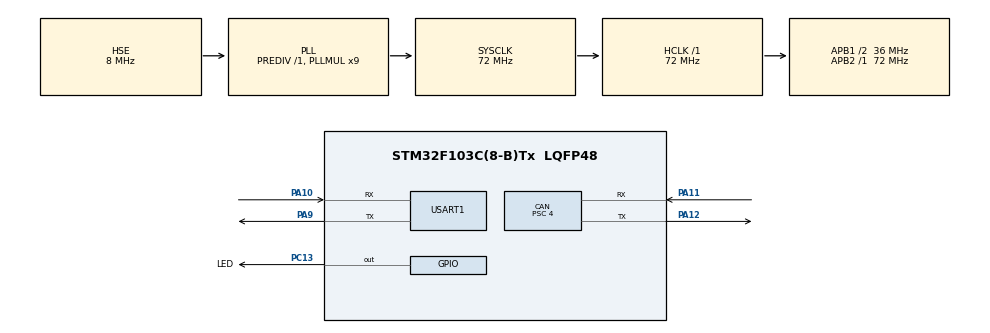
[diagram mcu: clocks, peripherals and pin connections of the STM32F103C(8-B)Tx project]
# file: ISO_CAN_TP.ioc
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CAN.BS1=CAN_BS1_15TQ
CAN.BS2=CAN_BS2_2TQ
CAN.CalculateBaudRate=500000
CAN.CalculateTimeBit=2000
CAN.CalculateTimeQuantum=111.11111111111111
CAN.Prescaler=4
CAN.TXFP=ENABLE
FREERTOS.Tasks01=defaultTask,24,512,StartDefaultTask,Default,NULL,Dynamic,NULL,NULL;Can_Send,24,512,Can_SendHandler,Default,NULL,Dynamic,NULL,NULL
FREERTOS.configCHECK_FOR_STACK_OVERFLOW=1
FREERTOS.configTOTAL_HEAP_SIZE=8192
Mcu.Family=STM32F1
Mcu.Name=STM32F103C(8-B)Tx
Mcu.Package=LQFP48
NVIC.CAN1_RX1_IRQn=true\:5\:0\:false\:false\:true\:true\:true\:true\:true
NVIC.CAN1_SCE_IRQn=true\:5\:0\:false\:false\:true\:true\:true\:true\:true
NVIC.PriorityGroup=NVIC_PRIORITYGROUP_4
NVIC.USART1_IRQn=true\:5\:0\:false\:false\:true\:true\:true\:true\:true
NVIC.USB_LP_CAN1_RX0_IRQn=true\:5\:0\:false\:false\:true\:true\:true\:true\:true
PA10.Mode=Asynchronous
PA10.Signal=USART1_RX
PA11.Mode=CAN_Activate
PA11.Signal=CAN_RX
PA12.Mode=CAN_Activate
PA12.Signal=CAN_TX
PA13.Mode=Serial_Wire
PA13.Signal=SYS_JTMS-SWDIO
PA14.Mode=Serial_Wire
PA14.Signal=SYS_JTCK-SWCLK
PA9.Mode=Asynchronous
PA9.Signal=USART1_TX
PC13-TAMPER-RTC.GPIO_Label=LED
PC13-TAMPER-RTC.PinState=GPIO_PIN_SET
PC13-TAMPER-RTC.Signal=GPIO_Output
PD0-OSC_IN.Mode=HSE-External-Oscillator
PD0-OSC_IN.Signal=RCC_OSC_IN
PD1-OSC_OUT.Mode=HSE-External-Oscillator
PD1-OSC_OUT.Signal=RCC_OSC_OUT
ProjectManager.HeapSize=0x200
ProjectManager.StackSize=0x400
ProjectManager.TargetToolchain=STM32CubeIDE
RCC.AHBFreq_Value=72000000
RCC.APB1CLKDivider=RCC_HCLK_DIV2
RCC.APB1Freq_Value=36000000
RCC.APB1TimFreq_Value=72000000
RCC.APB2Freq_Value=72000000
RCC.APB2TimFreq_Value=72000000
RCC.HCLKFreq_Value=72000000
RCC.PLLMUL=RCC_PLL_MUL9
RCC.PLLSourceVirtual=RCC_PLLSOURCE_HSE
RCC.SYSCLKFreq_VALUE=72000000
RCC.SYSCLKSource=RCC_SYSCLKSOURCE_PLLCLK
RCC.USBFreq_Value=72000000
TIM1.Prescaler=71
USART1.VirtualMode=VM_ASYNC
VP_FREERTOS_VS_CMSIS_V2.Mode=CMSIS_V2
VP_TIM1_VS_ClockSourceINT.Mode=Internal
board=custom

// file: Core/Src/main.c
/* USER CODE BEGIN Header */
/**
 ******************************************************************************
 * @file           : main.c
 * @brief          : Main program body
 ******************************************************************************
 * @attention
 *
 * Copyright (c) 2023 STMicroelectronics.
 * All rights reserved.
 *
 * This software is licensed under terms that can be found in the LICENSE file
 * in the root directory of this software component.
 * If no LICENSE file comes with this software, it is provided AS-IS.
 *
 ******************************************************************************
 */
/* USER CODE END Header */
#include "main.h"
#include "cmsis_os.h"

/* USER CODE BEGIN Includes */
#include "isotp.h"
#include "CANFrame/canframe.h"
#include "CANHandler/CANHandler.h"
#include "SyncPrintf/SyncPrintf.h"
/* USER CODE END Includes */

/* USER CODE BEGIN PD */
#define ISOTP_BUFSIZE 		500
#define CAN_DISTANCE_ID 	0x0001
#define CAN_LIGHT_ID		0x0002

/* USER CODE END PD */

CAN_HandleTypeDef hcan;

TIM_HandleTypeDef htim1;

UART_HandleTypeDef huart1;

/* Definitions for defaultTask */
osThreadId_t defaultTaskHandle;
const osThreadAttr_t defaultTask_attributes = {
  .name = "defaultTask",
  .stack_size = 512 * 4,
  .priority = (osPriority_t) osPriorityNormal,
};
/* Definitions for Can_Send */
osThreadId_t Can_SendHandle;
const osThreadAttr_t Can_Send_attributes = {
  .name = "Can_Send",
  .stack_size = 512 * 4,
  .priority = (osPriority_t) osPriorityNormal,
};
/* USER CODE BEGIN PV */
IsoTpLink send_link;
IsoTpLink recv_link;

/* Alloc send and receive buffer statically in RAM */
uint8_t send_isotpRecvBuf[ISOTP_BUFSIZE];
uint8_t send_isotpSendBuf[ISOTP_BUFSIZE];
uint8_t recv_isotpRecvBuf[ISOTP_BUFSIZE];
uint8_t recv_isotpSendBuf[ISOTP_BUFSIZE];
CAN_OS_HandlerStruct CANmain;
CANFrame_HandlerStruct CANFrame_Handler;
/* USER CODE END PV */

void SystemClock_Config(void);
static void MX_GPIO_Init(void);
static void MX_CAN_Init(void);
static void MX_USART1_UART_Init(void);
static void MX_TIM1_Init(void);
void StartDefaultTask(void *argument);
void Can_SendHandler(void *argument);

int main(void)
{

  /* MCU Configuration--------------------------------------------------------*/

  /* Reset of all peripherals, Initializes the Flash interface and the Systick. */
  HAL_Init();

  /* USER CODE BEGIN Init */
	/* Alloc IsoTpLink statically in RAM */

  /* USER CODE END Init */

  /* Configure the system clock */
  SystemClock_Config();

  /* USER CODE BEGIN SysInit */
//	isotp_init_link(&send_link, CANFRAME_MASTER_ID, send_isotpSendBuf,
//			sizeof(send_isotpSendBuf), send_isotpRecvBuf,
//			sizeof(send_isotpRecvBuf));
//	send_link.receive_arbitration_id = CANFRAME_DISTANCE_ID;

	isotp_init_link(&recv_link, CANFRAME_DISTANCE_ID, recv_isotpSendBuf,
			sizeof(recv_isotpSendBuf), recv_isotpRecvBuf,
			sizeof(recv_isotpRecvBuf));
	recv_link.receive_arbitration_id = CANFRAME_MASTER_ID;
  /* USER CODE END SysInit */

  /* Initialize all configured peripherals */
  MX_GPIO_Init();
  MX_CAN_Init();
  MX_USART1_UART_Init();
  MX_TIM1_Init();
  /* USER CODE BEGIN 2 */

	CAN_OS_Init(&CANmain, &hcan);
  /* USER CODE END 2 */

  /* Init scheduler */
  osKernelInitialize();

  /* USER CODE BEGIN RTOS_MUTEX */
	/* add mutexes, ... */
	SyncPrintf_Init();
  /* USER CODE END RTOS_MUTEX */

  /* Create the thread(s) */
  /* creation of defaultTask */
  defaultTaskHandle = osThreadNew(StartDefaultTask, NULL, &defaultTask_attributes);

  /* creation of Can_Send */
//  Can_SendHandle = osThreadNew(Can_SendHandler, NULL, &Can_Send_attributes);

  /* Start scheduler */
  osKernelStart();

  /* We should never get here as control is now taken by the scheduler */
  /* Infinite loop */
	while (1) {

	}
}

void SystemClock_Config(void)
{
  RCC_OscInitTypeDef RCC_OscInitStruct = {0};
  RCC_ClkInitTypeDef RCC_ClkInitStruct = {0};

  /** Initializes the RCC Oscillators according to the specified parameters
  * in the RCC_OscInitTypeDef structure.
  */
  RCC_OscInitStruct.OscillatorType = RCC_OSCILLATORTYPE_HSE;
  RCC_OscInitStruct.HSEState = RCC_HSE_ON;
  RCC_OscInitStruct.HSEPredivValue = RCC_HSE_PREDIV_DIV1;
  RCC_OscInitStruct.HSIState = RCC_HSI_ON;
  RCC_OscInitStruct.PLL.PLLState = RCC_PLL_ON;
  RCC_OscInitStruct.PLL.PLLSource = RCC_PLLSOURCE_HSE;
  RCC_OscInitStruct.PLL.PLLMUL = RCC_PLL_MUL9;
  if (HAL_RCC_OscConfig(&RCC_OscInitStruct) != HAL_OK)
  {
    Error_Handler();
  }

  /** Initializes the CPU, AHB and APB buses clocks
  */
  RCC_ClkInitStruct.ClockType = RCC_CLOCKTYPE_HCLK|RCC_CLOCKTYPE_SYSCLK
                              |RCC_CLOCKTYPE_PCLK1|RCC_CLOCKTYPE_PCLK2;
  RCC_ClkInitStruct.SYSCLKSource = RCC_SYSCLKSOURCE_PLLCLK;
  RCC_ClkInitStruct.AHBCLKDivider = RCC_SYSCLK_DIV1;
  RCC_ClkInitStruct.APB1CLKDivider = RCC_HCLK_DIV2;
  RCC_ClkInitStruct.APB2CLKDivider = RCC_HCLK_DIV1;

  if (HAL_RCC_ClockConfig(&RCC_ClkInitStruct, FLASH_LATENCY_2) != HAL_OK)
  {
    Error_Handler();
  }
}

static void MX_CAN_Init(void)
{

  hcan.Instance = CAN1;
  hcan.Init.Prescaler = 4;
  hcan.Init.Mode = CAN_MODE_NORMAL;
  hcan.Init.SyncJumpWidth = CAN_SJW_1TQ;
  hcan.Init.TimeSeg1 = CAN_BS1_15TQ;
  hcan.Init.TimeSeg2 = CAN_BS2_2TQ;
  hcan.Init.TimeTriggeredMode = DISABLE;
  hcan.Init.AutoBusOff = DISABLE;
  hcan.Init.AutoWakeUp = DISABLE;
  hcan.Init.AutoRetransmission = DISABLE;
  hcan.Init.ReceiveFifoLocked = DISABLE;
  hcan.Init.TransmitFifoPriority = ENABLE;
  if (HAL_CAN_Init(&hcan) != HAL_OK)
  {
    Error_Handler();
  }

}

static void MX_TIM1_Init(void)
{

  TIM_ClockConfigTypeDef sClockSourceConfig = {0};
  TIM_MasterConfigTypeDef sMasterConfig = {0};

  htim1.Instance = TIM1;
  htim1.Init.Prescaler = 71;
  htim1.Init.CounterMode = TIM_COUNTERMODE_UP;
  htim1.Init.Period = 65535;
  htim1.Init.ClockDivision = TIM_CLOCKDIVISION_DIV1;
  htim1.Init.RepetitionCounter = 0;
  htim1.Init.AutoReloadPreload = TIM_AUTORELOAD_PRELOAD_DISABLE;
  if (HAL_TIM_Base_Init(&htim1) != HAL_OK)
  {
    Error_Handler();
  }
  sClockSourceConfig.ClockSource = TIM_CLOCKSOURCE_INTERNAL;
  if (HAL_TIM_ConfigClockSource(&htim1, &sClockSourceConfig) != HAL_OK)
  {
    Error_Handler();
  }
  sMasterConfig.MasterOutputTrigger = TIM_TRGO_RESET;
  sMasterConfig.MasterSlaveMode = TIM_MASTERSLAVEMODE_DISABLE;
  if (HAL_TIMEx_MasterConfigSynchronization(&htim1, &sMasterConfig) != HAL_OK)
  {
    Error_Handler();
  }

}

static void MX_USART1_UART_Init(void)
{

  huart1.Instance = USART1;
  huart1.Init.BaudRate = 115200;
  huart1.Init.WordLength = UART_WORDLENGTH_8B;
  huart1.Init.StopBits = UART_STOPBITS_1;
  huart1.Init.Parity = UART_PARITY_NONE;
  huart1.Init.Mode = UART_MODE_TX_RX;
  huart1.Init.HwFlowCtl = UART_HWCONTROL_NONE;
  huart1.Init.OverSampling = UART_OVERSAMPLING_16;
  if (HAL_UART_Init(&huart1) != HAL_OK)
  {
    Error_Handler();
  }

}

static void MX_GPIO_Init(void)
{
  GPIO_InitTypeDef GPIO_InitStruct = {0};

  /* GPIO Ports Clock Enable */
  __HAL_RCC_GPIOC_CLK_ENABLE();
  __HAL_RCC_GPIOD_CLK_ENABLE();
  __HAL_RCC_GPIOA_CLK_ENABLE();

  /*Configure GPIO pin Output Level */
  HAL_GPIO_WritePin(LED_GPIO_Port, LED_Pin, GPIO_PIN_SET);

  /*Configure GPIO pin : LED_Pin */
  GPIO_InitStruct.Pin = LED_Pin;
  GPIO_InitStruct.Mode = GPIO_MODE_OUTPUT_PP;
  GPIO_InitStruct.Pull = GPIO_NOPULL;
  GPIO_InitStruct.Speed = GPIO_SPEED_FREQ_LOW;
  HAL_GPIO_Init(LED_GPIO_Port, &GPIO_InitStruct);

}

/* USER CODE BEGIN 4 */
void CAN_TxCallback(CAN_HandleTypeDef *hcan) {
	if (CANmain.hcan == hcan) {
		CAN_OS_TxCplt_CB(&CANmain);
	}
}
void CAN_RxFifo0Callback(CAN_HandleTypeDef *hcan) {
	if (CANmain.hcan == hcan) {
		CAN_OS_RxFifo0Cplt_CB(&CANmain);
	}
}
/* USER CODE END 4 */

void StartDefaultTask(void *argument)
{
  /* USER CODE BEGIN 5 */
	/* Infinite loop */
	CAN_OS_RegisterCB(&CANmain, CAN_OS_ActivateTxCB_ID, CAN_TxCallback);
	CAN_OS_RegisterCB(&CANmain, CAN_OS_ActivateRxFifo0_ID, CAN_RxFifo0Callback);

	CANFrame_Init(&CANFrame_Handler, &CANmain, CANFRAME_DISTANCE_ID,
	CAN_RX_FIFO0);
	CAN_OS_Start(&CANmain);
	osThreadSetPriority(defaultTaskHandle, osPriorityBelowNormal);
//	CANFrame_RegCB(&CANFrame_Handler, CANFRAME_RCVCPLT_CB_ID,
//			CANFrame_RcvDoneHandler);
	int status = 0;
	for (;;) {
		status =
				SyncPrintf(
						"SendSuccess: %d, SendFailed: %d, RcvSuccess: %d, RcvFailed: %d\r\n",
						CANFrame_Handler.SendSuccessCounter,
						CANFrame_Handler.SendFailedCounter,
						CANFrame_Handler.RcvSucessCounter,
						CANFrame_Handler.RcvFailedCounter);
//		SyncPrintf("Hello \r\n");
		osDelay(500);
	}
  /* USER CODE END 5 */
}

void Can_SendHandler(void *argument)
{
  /* USER CODE BEGIN Can_SendHandler */
	/* Infinite loop */
	uint32_t Interval = 20;
	uint32_t delaytime = 0;
//	char TxBuffer[] = "#12=PWRLGPS;12;7;2";
	char TxBuffer[] = "#12=PWRLGPS;12;7;2#12=PWRLGPS;12;7;2#12=PWRLGPS;12;7;2#";
	isotp_send(&send_link, (uint8_t*) TxBuffer, sizeof(TxBuffer));
	uint32_t startTime = osKernelGetTickCount();
	uint32_t currentTime = 0;
	for (;;) {
//		HAL_TIM_Base_Start(&htim1);
		if (send_link.send_status == ISOTP_SEND_STATUS_INPROGRESS) {
			isotp_poll(&send_link);
			osDelay(1);

//			SyncPrintf("Yiled\r\n");
//			osThreadYield();
//			SyncPrintf("Continue\r\n");
//			continue;
//			osDelay(1);
		}
		else {
			startTime = osKernelGetTickCount();
			isotp_send(&send_link, (uint8_t*) TxBuffer, sizeof(TxBuffer));
		}
		if (send_link.send_status == ISOTP_SEND_STATUS_IDLE) {
			CANFrame_Handler.SendSuccessCounter++;
			currentTime = osKernelGetTickCount();
			delaytime = Interval - (currentTime - startTime);
			delaytime = (delaytime > Interval)? 0 : delaytime;
			osDelay(delaytime);
		} else if (send_link.send_status == ISOTP_SEND_STATUS_ERROR) {
			CANFrame_Handler.SendFailedCounter++;
		}
//		SyncPrintf("Send %s ", TxBuffer);
	}
  /* USER CODE END Can_SendHandler */
}

void Error_Handler(void)
{
	__disable_irq();
	while (1) {
	}
}
